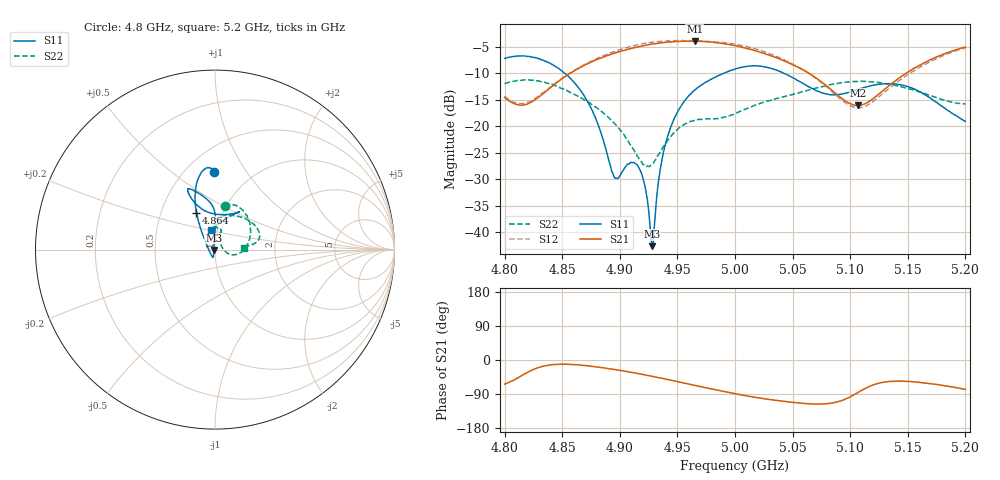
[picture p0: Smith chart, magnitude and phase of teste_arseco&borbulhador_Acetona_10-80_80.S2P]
! Network Analyzer HP8722D
! Hewlett-Packard
! Data name: Linha & Wilkinson
! Saver's name: Rodrigo Anjos
! Comments: Teste da utilização de aquisição
! continua pelo VNA HP8722D
! Time and date: 25/4/2025 15:56
!  Frequency  S11  S21  S12  S22
# HZ  S  MA R 50
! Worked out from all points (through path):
!   401 points, 4.8 GHz to 5.2 GHz, reference 50 ohm
!   highest |S21| = -3.98 dB at 4.965 GHz (marker M1); lowest = -16.1 dB at 5.107 GHz (marker M2)
!   lowest |S11| = -42.7 dB at 4.928 GHz (marker M3), VSWR 1.01, Z = 49.3 - j0.149 ohm
!   |S11| at or under -10 dB: 4.852 GHz to 4.991 GHz (138.7 MHz wide, 2.82 % of centre); 5.042 GHz to end of sweep
!   |S22| runs from -27.6 to -11.3 dB; largest |S21 - S12| = 1.2
!   S11 on the Smith chart (normalised r, x): 4.8 GHz: 0.68, +0.72; 4.864 GHz: 0.75, +0.33; 5.2 GHz: 0.94, +0.21
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4.8e9  0.4342 90.6  0.1856 -63.6  0.1908 69.8  0.2512 77.1
4.82e9  0.4525 96.9  0.1615 -32.4  0.1672 98.5  0.2719 61.7
4.864e9  0.2311 116.6  0.3494 -12.8  0.3527 120.9  0.19 12.0
4.867e9  0.2084 118.3  0.364 -14.0  0.3677 120.6  0.1828 8.7
4.88e9  0.1109 128.8  0.4232 -18.4  0.4332 118.3  0.1485 -5.4
4.895e9  0.03316 -173.1  0.4858 -24.8  0.5042 113.8  0.1069 -16.0
4.909e9  0.04517 -106.9  0.5355 -32.2  0.5615 107.5  0.06709 -14.6
4.917e9  0.03935 -103.3  0.5619 -36.4  0.5894 103.5  0.04858 -1.1
4.922e9  0.02672 -106.8  0.5763 -39.4  0.6036 100.7  0.0422 16.2
4.928e9  0.00736 -168.2  0.5939 -43.0  0.6181 96.9  0.0441 41.3
4.93e9  0.01142 124.6  0.5969 -44.2  0.621 95.6  0.04645 48.2
4.934e9  0.03219 100.0  0.6049 -46.8  0.6271 93.3  0.05423 58.3
4.939e9  0.06362 92.8  0.6142 -49.7  0.6342 90.0  0.06708 65.7
4.946e9  0.1096 89.7  0.6237 -54.4  0.6382 85.6  0.08425 70.2
4.965e9  0.2178 90.9  0.6327 -67.0  0.6374 73.3  0.1136 71.9
5e9  0.3451 109.1  0.5735 -89.2  0.5917 50.8  0.1309 88.3
5.03e9  0.3534 115.1  0.4644 -104.3  0.4804 33.8  0.1735 85.3
5.067e9  0.2262 105.2  0.3011 -115.9  0.2983 23.6  0.2226 57.2
5.107e9  0.2221 63.8  0.1563 -85.4  0.148 57.9  0.2638 24.2
5.134e9  0.251 57.1  0.2414 -56.7  0.2271 88.7  0.2481 12.4
5.168e9  0.188 69.2  0.4142 -61.7  0.3971 85.2  0.1961 7.0
5.2e9  0.1108 100.6  0.5553 -77.6  0.5443 70.2  0.1612 3.8
